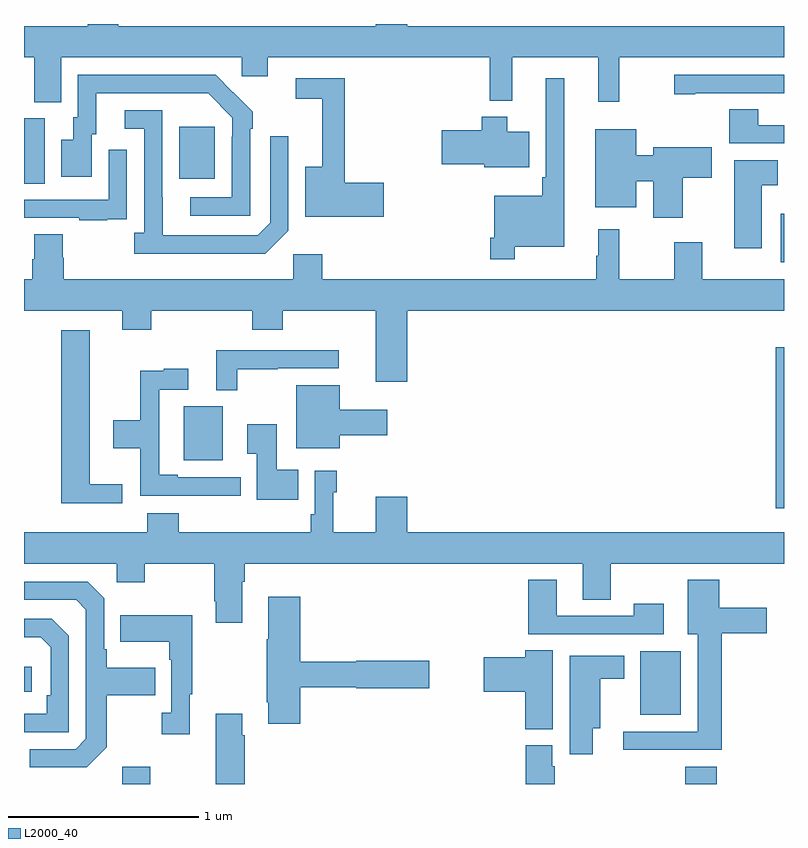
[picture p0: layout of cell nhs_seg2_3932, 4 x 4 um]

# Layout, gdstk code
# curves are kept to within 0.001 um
import gdstk
lib = gdstk.Library(unit=1e-6, precision=1e-09)
def R(c, l, rs):  # rectangles x0, y0, x1, y1
    for r in rs: c.add(gdstk.rectangle(r[:2], r[2:], *l))
def P(c, l, *ps):  # polygons
    for p in ps: c.add(gdstk.Polygon(p, *l))
L2000_40 = (2000, 40)

nhs_seg2_3932 = lib.new_cell('nhs_seg2_3932')
R(nhs_seg2_3932, L2000_40, [(319.517,655.8,319.665,655.891), (322.481,655.8,322.646,655.891), (322.244,656.165,322.456,656.5), (319,656.286,319.042,656.416), (322.957,657.252,323,658.099), (319.841,657.503,320.047,657.787), (322.982,658.547,323,658.801), (319,658.96,319.108,659.304), (319.817,658.985,320.005,659.26)])
P(nhs_seg2_3932, L2000_40, [(319.195,659.624),(320.145,659.624),(320.145,659.526),(320.284,659.526),(320.284,659.624),(321.451,659.624),(321.451,659.396),(321.569,659.396),(321.569,659.624),(322.022,659.624),(322.022,659.391),(322.132,659.391),(322.132,659.624),(323,659.624),(323,659.788),(321.016,659.788),(321.016,659.8),(320.852,659.8),(320.852,659.788),(319.496,659.788),(319.496,659.8),(319.336,659.8),(319.336,659.788),(319,659.788),(319,659.624),(319.055,659.624),(319.055,659.389),(319.195,659.389)],
  [(322.534,659.436),(323,659.436),(323,659.532),(322.422,659.532),(322.422,659.431),(322.534,659.431)],
  [(320.19,659.249),(320.205,659.249),(320.205,659.337),(320.008,659.532),(319.284,659.532),(319.284,659.31),(319.259,659.31),(319.259,659.191),(319.196,659.191),(319.196,658.995),(319.357,658.995),(319.357,659.22),(319.381,659.22),(319.381,659.436),(319.969,659.436),(320.097,659.307),(320.097,659.207),(320.094,659.207),(320.094,658.887),(319.875,658.887),(319.875,658.791),(320.19,658.791)],
  [(321.583,658.628),(321.844,658.628),(321.844,659.515),(321.747,659.515),(321.747,658.993),(321.727,658.993),(321.727,658.897),(321.474,658.897),(321.474,658.675),(321.454,658.675),(321.454,658.563),(321.583,658.563)],
  [(320.893,658.964),(320.687,658.964),(320.687,659.514),(320.43,659.514),(320.43,659.406),(320.57,659.406),(320.57,659.05),(320.48,659.05),(320.48,658.786),(320.893,658.786)],
  [(323,659.268),(322.864,659.268),(322.864,659.351),(322.712,659.351),(322.712,659.172),(323,659.172)],
  [(320.391,658.713),(320.391,659.209),(320.295,659.209),(320.295,658.755),(320.229,658.689),(319.729,658.689),(319.728,659.346),(319.53,659.346),(319.53,659.25),(319.632,659.25),(319.632,658.702),(319.581,658.702),(319.581,658.592),(320.27,658.592)],
  [(321.658,659.233),(321.544,659.233),(321.544,659.311),(321.41,659.311),(321.41,659.241),(321.198,659.241),(321.198,659.063),(321.422,659.063),(321.422,659.045),(321.658,659.045)],
  [(322.468,658.99),(322.621,658.99),(322.621,659.152),(322.313,659.152),(322.313,659.108),(322.222,659.108),(322.222,659.245),(322.007,659.245),(322.007,658.835),(322.222,658.835),(322.222,658.972),(322.313,658.972),(322.313,658.779),(322.468,658.779)],
  [(319.439,658.773),(319.541,658.773),(319.541,658.882),(319.542,658.882),(319.542,659.137),(319.446,659.137),(319.446,658.875),(319,658.875),(319,658.779),(319.291,658.779),(319.291,658.767),(319.439,658.767)],
  [(322.882,658.952),(322.966,658.952),(322.966,659.083),(322.739,659.083),(322.739,658.62),(322.882,658.62)],
  [(321.016,658.292),(323,658.292),(323,658.456),(322.57,658.456),(322.57,658.651),(322.423,658.651),(322.423,658.456),(322.132,658.456),(322.132,658.72),(322.022,658.72),(322.022,658.58),(322.011,658.58),(322.011,658.456),(320.57,658.456),(320.57,658.588),(320.418,658.588),(320.418,658.456),(319.208,658.456),(319.208,658.569),(319.203,658.569),(319.203,658.694),(319.055,658.694),(319.055,658.562),(319.043,658.562),(319.043,658.456),(319,658.456),(319,658.292),(319.517,658.292),(319.517,658.19),(319.67,658.19),(319.67,658.292),(320.201,658.292),(320.201,658.19),(320.361,658.19),(320.361,658.292),(320.852,658.292),(320.852,657.918),(321.016,657.918)],
  [(319.516,657.377),(319.345,657.377),(319.345,658.189),(319.196,658.189),(319.196,657.278),(319.516,657.278)],
  [(320.122,657.982),(320.336,657.982),(320.336,657.987),(320.656,657.987),(320.656,658.083),(320.012,658.083),(320.012,657.872),(320.122,657.872)],
  [(320.14,657.414),(319.81,657.414),(319.81,657.427),(319.713,657.427),(319.713,657.876),(319.864,657.876),(319.864,657.985),(319.736,657.985),(319.736,657.974),(319.612,657.974),(319.612,657.714),(319.47,657.714),(319.47,657.566),(319.612,657.566),(319.612,657.318),(319.897,657.318),(319.897,657.317),(320.14,657.317)],
  [(320.662,657.635),(320.911,657.635),(320.911,657.769),(320.662,657.769),(320.662,657.898),(320.432,657.898),(320.432,657.566),(320.662,657.566)],
  [(320.444,657.454),(320.329,657.454),(320.329,657.694),(320.175,657.694),(320.175,657.538),(320.225,657.538),(320.225,657.296),(320.444,657.296)],
  [(320.149,656.864),(320.162,656.864),(320.162,656.96),(321.941,656.96),(321.941,656.77),(322.089,656.77),(322.089,656.96),(323,656.96),(323,657.124),(321.016,657.124),(321.016,657.313),(320.852,657.313),(320.852,657.124),(320.628,657.124),(320.628,657.335),(320.645,657.335),(320.645,657.448),(320.529,657.448),(320.529,657.22),(320.509,657.22),(320.509,657.124),(319.814,657.124),(319.814,657.226),(319.649,657.226),(319.649,657.124),(319,657.124),(319,656.96),(319.488,656.96),(319.488,656.861),(319.635,656.861),(319.635,656.96),(320.002,656.96),(320.002,656.761),(320.009,656.761),(320.009,656.649),(320.149,656.649)],
  [(322.366,656.749),(322.21,656.749),(322.21,656.685),(321.805,656.685),(321.805,656.875),(321.653,656.875),(321.653,656.589),(322.366,656.589)],
  [(322.673,656.594),(322.909,656.594),(322.909,656.728),(322.66,656.728),(322.66,656.875),(322.493,656.875),(322.493,656.588),(322.547,656.588),(322.547,656.076),(322.155,656.076),(322.155,655.979),(322.673,655.979)],
  [(319.435,655.993),(319.435,656.266),(319.691,656.266),(319.691,656.413),(319.435,656.413),(319.435,656.509),(319.422,656.509),(319.422,656.778),(319.335,656.865),(319,656.865),(319,656.769),(319.275,656.769),(319.326,656.718),(319.326,656.037),(319.272,655.983),(319.029,655.983),(319.029,655.887),(319.329,655.887)],
  [(320.453,656.308),(320.748,656.308),(320.748,656.303),(321.133,656.303),(321.133,656.45),(320.748,656.45),(320.748,656.444),(320.453,656.444),(320.453,656.785),(320.285,656.785),(320.285,656.561),(320.278,656.561),(320.278,656.23),(320.285,656.23),(320.285,656.118),(320.453,656.118)],
  [(319.873,656.273),(319.885,656.273),(319.885,656.689),(319.507,656.689),(319.507,656.549),(319.764,656.549),(319.764,656.453),(319.776,656.453),(319.776,656.174),(319.725,656.174),(319.725,656.061),(319.873,656.061)],
  [(319.236,656.58),(319.146,656.67),(319,656.67),(319,656.573),(319.087,656.573),(319.14,656.52),(319.14,656.266),(319.12,656.266),(319.12,656.169),(319,656.169),(319,656.073),(319.236,656.073)],
  [(321.784,656.504),(321.638,656.504),(321.638,656.468),(321.42,656.468),(321.42,656.285),(321.638,656.285),(321.638,656.089),(321.784,656.089)],
  [(321.994,656.093),(322.033,656.093),(322.033,656.354),(322.159,656.354),(322.159,656.476),(321.872,656.476),(321.872,655.956),(321.994,655.956)],
  [(320.162,656.057),(320.149,656.057),(320.149,656.17),(320.009,656.17),(320.009,655.8),(320.162,655.8)],
  [(321.794,655.893),(321.781,655.893),(321.781,656.004),(321.641,656.004),(321.641,655.8),(321.794,655.8)])

lib.write_gds('nhs_seg2_3932.gds')
